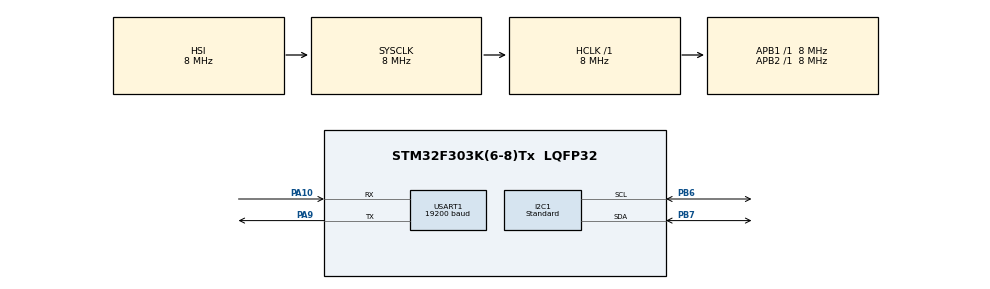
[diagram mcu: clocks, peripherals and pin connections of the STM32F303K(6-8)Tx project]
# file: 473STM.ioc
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I2C1.I2C_Speed_Mode=I2C_Standard
Mcu.Family=STM32F3
Mcu.Name=STM32F303K(6-8)Tx
Mcu.Package=LQFP32
NVIC.PriorityGroup=NVIC_PRIORITYGROUP_4
PA10.Mode=Asynchronous
PA10.Signal=USART1_RX
PA13.GPIO_Label=SWDIO
PA13.Mode=Serial_Wire
PA13.Signal=SYS_JTMS-SWDIO
PA14.GPIO_Label=SWCLK
PA14.Mode=Serial_Wire
PA14.Signal=SYS_JTCK-SWCLK
PA15.GPIO_Label=VCP_RX
PA15.Signal=USART2_RX
PA2.GPIO_Label=VCP_TX
PA2.Signal=USART2_TX
PA9.Mode=Asynchronous
PA9.Signal=USART1_TX
PB6.Mode=I2C
PB6.Signal=I2C1_SCL
PB7.Mode=I2C
PB7.Signal=I2C1_SDA
PF0\ /\ OSC_IN.GPIO_Label=MCO
PF0\ /\ OSC_IN.Mode=HSE-External-Clock-Source
PF0\ /\ OSC_IN.Signal=RCC_OSC_IN
ProjectManager.HeapSize=0x200
ProjectManager.StackSize=0x400
ProjectManager.TargetToolchain=STM32CubeIDE
RCC.AHBFreq_Value=8000000
RCC.APB1Freq_Value=8000000
RCC.APB2Freq_Value=8000000
RCC.CortexFreq_Value=8000000
RCC.HSE_VALUE=8000000
RCC.HSI_VALUE=8000000
RCC.SYSCLKFreq_VALUE=8000000
TIM3.AutoReloadPreload=TIM_AUTORELOAD_PRELOAD_ENABLE
TIM3.Period=8000
USART1.BaudRate=19200
USART1.StopBits=STOPBITS_2
USART1.VirtualMode-Asynchronous=VM_ASYNC
VP_TIM3_VS_ClockSourceINT.Mode=Internal
board=NUCLEO-F303K8

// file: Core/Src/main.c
/* USER CODE BEGIN Header */
/**
 ******************************************************************************
 * @file           : main.c
 * @brief          : Main program body
 ******************************************************************************
 * @attention
 *
 * Copyright (c) 2021 STMicroelectronics.
 * All rights reserved.
 *
 * This software is licensed under terms that can be found in the LICENSE file
 * in the root directory of this software component.
 * If no LICENSE file comes with this software, it is provided AS-IS.
 *
 ******************************************************************************
 */
/* USER CODE END Header */
#include "main.h"
#include "stm32f3xx_it.h"

/* USER CODE BEGIN PD */
#define BMP_ADDR 0x77 << 1
#define BNO_ADDR 0x28 << 1
#define portNVIC_INT_CTRL_REG		( * ( ( volatile uint32_t * ) 0xe000ed04 ) )
#define portNVIC_PENDSVSET_BIT		( 1UL << 28UL )
#define portNVIC_Thread				( 1UL << 11UL)

/* USER CODE END PD */

I2C_HandleTypeDef hi2c1;

TIM_HandleTypeDef htim3;

UART_HandleTypeDef huart1;

/* USER CODE BEGIN PV */
MemBuf bnoAccelBuf;
MemBuf bnoGyroBuf;
MemBuf bnoMagBuf;
MemBuf bmpBuf;

/* USER CODE END PV */

void SystemClock_Config(void);
static void MX_GPIO_Init(void);
static void MX_USART1_UART_Init(void);
static void MX_I2C1_Init(void);
static void MX_TIM3_Init(void);
/* USER CODE BEGIN PFP */
void schedule(void);
void contextSwap(void);
void addTask(void* task);
void initTasks(void);
void delayTask(int delay);

void taskOne(void);
void taskTwo(void);

void readBNO(void);
void readBMP(void);
void logBNO(void);
void logBMP(void);
/* USER CODE END PFP */

/* USER CODE BEGIN 0 */

char* intToChar(int16_t num) {
	static char asciiNum[6];
	int pos = 0;
	if(num < 0) {
		asciiNum[pos] = '-';
		num = -num;
		pos++;
	}
	uint16_t temp;
	bool nonzero = false;

	for(int i = 1000; i > 1; i /= 10) {
		temp = (num/i % 10);
		if(temp != 0) {
			asciiNum[pos++] = temp + '0';
			nonzero = true;
		}
	}
	asciiNum[pos++] = (num % 10) + '0';
	asciiNum[pos] = '\0';

	return asciiNum;
}

char* uintToChar(uint16_t num) {
	static char asciiNum[5];
	int pos = 0;
	uint16_t temp;
	bool nonzero = false;

	for(int i = 1000; i > 1; i /= 10) {
		temp = (num/i % 10);
		if(temp != 0) {
			asciiNum[pos++] = temp + '0';
			nonzero = true;
		}
	}
	asciiNum[pos++] = (num % 10) + '0';
	asciiNum[pos] = '\0';

	return asciiNum;
}

void readBNOReg(uint8_t reg, MemBuf* buffer) {
	int16_t number;
	uint8_t result;
	HAL_I2C_Mem_Read(&hi2c1,BNO_ADDR,reg,1,&result,1,100);
	number = (result << 8);
	HAL_I2C_Mem_Read(&hi2c1,BNO_ADDR,reg-1,1,&result,1,100);
	number += result;
	char* msg2 = intToChar(number);
	for(int i = 0; i < 4; i++) {
		if(msg2[i] == '\0')
			break;
		buffer->msg[buffer->bufLen++] = msg2[i];
	}
	buffer->msg[buffer->bufLen++] = '\r';
	buffer->msg[buffer->bufLen++] = '\n';
}

void readBMP(void) {
	while(1) {
		if(bmpBuf.sent == false) {
			__disable_irq();

			bmpBuf.bufLen = 0;

			uint8_t result;
			uint16_t num;
			HAL_I2C_Mem_Read(&hi2c1,BMP_ADDR,0xFA,1,&result,1,100);
			num = result << 8;
			HAL_I2C_Mem_Read(&hi2c1,BMP_ADDR,0xFB,1,&result,1,100);
			num += result;

			char msg[6] = "Temp: ";
			char * tmp = uintToChar(num);
			for(int i = 0; i < 6; i++) {
				bmpBuf.msg[bmpBuf.bufLen++] = msg[i];
			}
			for(int i = 0; i < 4; i++) {
				if(tmp[i] == '\0') {
					break;
				}
				bmpBuf.msg[bmpBuf.bufLen++] = tmp[i];
			}
			bmpBuf.msg[bmpBuf.bufLen++] = '\r';
			bmpBuf.msg[bmpBuf.bufLen++] = '\n';

			HAL_I2C_Mem_Read(&hi2c1,BMP_ADDR,0xF7,1,&result,1,100);
			num = result << 8;
			HAL_I2C_Mem_Read(&hi2c1,BMP_ADDR,0xF8,1,&result,1,100);
			num += result;

			char msg2[10] = "Pressure: ";
			tmp = uintToChar(num);
			for(int i = 0; i < 10; i++) {
				bmpBuf.msg[bmpBuf.bufLen++] = msg2[i];
			}
			for(int i = 0; i < 4; i++) {
				if(tmp[i] == '\0') {
					break;
				}
				bmpBuf.msg[bmpBuf.bufLen++] = tmp[i];
			}
			bmpBuf.msg[bmpBuf.bufLen++] = '\r';
			bmpBuf.msg[bmpBuf.bufLen++] = '\n';

			bmpBuf.sent = true;
			__enable_irq();
		}
		portNVIC_INT_CTRL_REG = portNVIC_PENDSVSET_BIT;
	}

}

void readBNOAccel(void) {
	while(1) {
		if(bnoAccelBuf.sent == false) {
			//Accel read
			//X
			bnoAccelBuf.bufLen = 0;

			__disable_irq();

			char msg2[13] = "Accel  axis: ";
			for(int i = 0; i < 6; i++) {
				bnoAccelBuf.msg[bnoAccelBuf.bufLen++] = msg2[i];
			}
			bnoAccelBuf.msg[bnoAccelBuf.bufLen++] = 'X';
			for(int i = 6; i < 13; i++) {
				bnoAccelBuf.msg[bnoAccelBuf.bufLen++] = msg2[i];
			}
			readBNOReg(0x09,&bnoAccelBuf);

			//Y
			for(int i = 0; i < 6; i++) {
				bnoAccelBuf.msg[bnoAccelBuf.bufLen++] = msg2[i];
			}
			bnoAccelBuf.msg[bnoAccelBuf.bufLen++] = 'Y';
			for(int i = 6; i < 13; i++) {
				bnoAccelBuf.msg[bnoAccelBuf.bufLen++] = msg2[i];
			}
			readBNOReg(0x0B,&bnoAccelBuf);

			//Z

			for(int i = 0; i < 6; i++) {
				bnoAccelBuf.msg[bnoAccelBuf.bufLen++] = msg2[i];
			}
			bnoAccelBuf.msg[bnoAccelBuf.bufLen++] = 'Z';
			for(int i = 6; i < 13; i++) {
				bnoAccelBuf.msg[bnoAccelBuf.bufLen++] = msg2[i];
			}
			readBNOReg(0x09,&bnoAccelBuf);

			bnoAccelBuf.sent = true;
			__enable_irq();
		}
		portNVIC_INT_CTRL_REG = portNVIC_PENDSVSET_BIT;
	}
}

void readBNOMag(void) {
	while(1) {
		if(bnoMagBuf.sent == false) {
			bnoMagBuf.bufLen = 0;

			__disable_irq();
			char msg1[11] = "Mag  axis: ";
			for(int i = 0; i < 4; i++) {
				bnoMagBuf.msg[bnoMagBuf.bufLen++] = msg1[i];
			}
			bnoMagBuf.msg[bnoMagBuf.bufLen++] = 'X';
			for(int i = 4; i < 11; i++) {
				bnoMagBuf.msg[bnoMagBuf.bufLen++] = msg1[i];
			}
			readBNOReg(0xFF,&bnoMagBuf);

			for(int i = 0; i < 4; i++) {
				bnoMagBuf.msg[bnoMagBuf.bufLen++] = msg1[i];
			}
			bnoMagBuf.msg[bnoMagBuf.bufLen++] = 'Y';
			for(int i = 4; i < 11; i++) {
				bnoMagBuf.msg[bnoMagBuf.bufLen++] = msg1[i];
			}
			readBNOReg(0x11,&bnoMagBuf);

			for(int i = 0; i < 4; i++) {
				bnoMagBuf.msg[bnoMagBuf.bufLen++] = msg1[i];
			}
			bnoMagBuf.msg[bnoMagBuf.bufLen++] = 'Z';
			for(int i = 4; i < 11; i++) {
				bnoMagBuf.msg[bnoMagBuf.bufLen++] = msg1[i];
			}
			readBNOReg(0x13,&bnoMagBuf);
			bnoMagBuf.sent = true;
			__enable_irq();
		}
		portNVIC_INT_CTRL_REG = portNVIC_PENDSVSET_BIT;
	}

}

void readBNOGyro(void) {
	//BNO IMU MSB to LSB
	//Set UNIT_SEL register to desired values

	while(1) {
		if(bnoGyroBuf.sent == false) {
			bnoGyroBuf.bufLen = 0;
			//Gyro read
			//X

			__disable_irq();

			char msg1[12] = "Gyro  axis: ";
			for(int i = 0; i < 5; i++) {
				bnoGyroBuf.msg[bnoGyroBuf.bufLen++] = msg1[i];
			}
			bnoGyroBuf.msg[bnoGyroBuf.bufLen++] = 'X';
			for(int i = 5; i < 12; i++) {
				bnoGyroBuf.msg[bnoGyroBuf.bufLen++] = msg1[i];
			}
			readBNOReg(0x15,&bnoGyroBuf);

			//Y

			for(int i = 0; i < 5; i++) {
				bnoGyroBuf.msg[bnoGyroBuf.bufLen++] = msg1[i];
			}
			bnoGyroBuf.msg[bnoGyroBuf.bufLen++] = 'Y';
			for(int i = 5; i < 12; i++) {
				bnoGyroBuf.msg[bnoGyroBuf.bufLen++] = msg1[i];
			}
			readBNOReg(0x17,&bnoGyroBuf);

			//Z
			for(int i = 0; i < 5; i++) {
				bnoGyroBuf.msg[bnoGyroBuf.bufLen++] = msg1[i];
			}
			bnoGyroBuf.msg[bnoGyroBuf.bufLen++] = 'Z';
			for(int i = 5; i < 12; i++) {
				bnoGyroBuf.msg[bnoGyroBuf.bufLen++] = msg1[i];
			}
			readBNOReg(0x19,&bnoGyroBuf);
			__enable_irq();

			bnoGyroBuf.sent = true;
		}
		portNVIC_INT_CTRL_REG = portNVIC_PENDSVSET_BIT;
	}
}

void bmpPrint(void) {

	//uint8_t msg[9] = "Task one\n";
	while(1) {
		if(bmpBuf.sent == true) {
			__disable_irq();
			HAL_UART_Transmit(&huart1,bmpBuf.msg,bmpBuf.bufLen,100);
			bmpBuf.bufLen = 0;
			bmpBuf.sent = false;
			__enable_irq();
			delayTask(500);
		}
		portNVIC_INT_CTRL_REG = portNVIC_PENDSVSET_BIT;

	}

}

void bnoMagPrint(void) {

	//uint8_t msg[9] = "Task one\n";
	while(1) {
		if(bnoMagBuf.sent == true) {
			__disable_irq();
			HAL_UART_Transmit(&huart1,bnoMagBuf.msg,bnoMagBuf.bufLen,100);
			bnoMagBuf.bufLen = 0;
			bnoMagBuf.sent = false;
			__enable_irq();
			delayTask(500);
		}
		portNVIC_INT_CTRL_REG = portNVIC_PENDSVSET_BIT;

	}

}

void bnoAccelPrint(void) {

	//uint8_t msg[9] = "Task one\n";
	while(1) {
		if(bnoAccelBuf.sent == true) {
			__disable_irq();
			HAL_UART_Transmit(&huart1,bnoAccelBuf.msg,bnoAccelBuf.bufLen,100);
			bnoAccelBuf.bufLen = 0;
			bnoAccelBuf.sent = false;
			__enable_irq();
			delayTask(500);
		}
		portNVIC_INT_CTRL_REG = portNVIC_PENDSVSET_BIT;

	}

}

void bnoGyroPrint(void) {
	while(1) {
		if(bnoGyroBuf.sent == true) {
			__disable_irq();
			HAL_UART_Transmit(&huart1,bnoGyroBuf.msg,bnoGyroBuf.bufLen,100);
			bnoGyroBuf.bufLen = 0;
			bnoGyroBuf.sent = false;
			__enable_irq();
			delayTask(500);
		}
		portNVIC_INT_CTRL_REG = portNVIC_PENDSVSET_BIT;

	}
}

void delayTask(int delay) {
	__asm volatile (
			"mrs r0, psp \n"
	);
	currentProcess->delay = delay;
	currentProcess->currentState = BLOCKED;
	portNVIC_INT_CTRL_REG = portNVIC_PENDSVSET_BIT;
	while(currentProcess->currentState == BLOCKED) {

	}
	__asm volatile (
			"adds r0, #12 \n"
			"msr psp, r0 \n"
			"bx lr \n"
	);

}

void initTasks(void) {
	for(int i = 0; i < NUM_PROC; i++) {
		processes[i].stackTop = &processes[i].stack[STACK_SIZE - 17];
		processes[i].currentState = TERMINATED;
	}
	currentProcess = &processes[NUM_PROC-1];
	__asm volatile (
			"ldr r3, initialContext \n"
			"ldr r0, [r3] \n"
			"ldr r1, [r0] \n"
			"msr psp, r1 \n"
			"initialContext: .word currentProcess \n"
	);
}
void addTask(void* task) {
	for(int i = 0; i < NUM_PROC; i++) {
		if(processes[i].currentState == TERMINATED) {
			*(uint32_t*)(&processes[i].stack[STACK_SIZE - 2]) = (uint32_t)task;
			*(uint32_t*)(&processes[i].stack[STACK_SIZE - 1]) = (uint32_t)0x21000000;
			processes[i].currentState = ACTIVE;
			return;
		}
	}
}

void schedule(void) {
	static int i = 0;
	for(;;) {
		i = (i + 1) % NUM_PROC;
		if(processes[i].currentState == ACTIVE) {
			currentProcess = &processes[i];
			return;
		}
	}
	//uint8_t msg[11] = "Scheduling";
	//HAL_UART_Transmit(&huart1,msg,11,100);
}

void PendSV_Handler(void) {
	//__disable_irq();

	__asm volatile
	(
			"mrs r0, msp \n"
			"ldr r1, =#0x00000008 \n"
			"add r0, r1 \n"
			"msr msp, r0 \n"
			"mrs r0, psp \n"
			"ldr r3, currentContext \n"
			"ldr r2, [r3] \n"
			"stmdb r0!, {r4-r11, r14} \n"
			"str r0, [r2] \n"
	);
	schedule();
	//__enable_irq();

	__asm volatile
	(
			"ldr r3, currentContext \n"
			"ldr r1, [r3] \n"
			"ldr r0, [r1] \n"
			"ldmia r0!, {r4-r11, r14} \n"
			"msr psp, r0 \n"
			"isb \n"
			"ldr r14, =#0xFFFFFFFD \n"
			"bx lr \n"
			"currentContext: .word currentProcess \n"
	);
	//return;
	//portNVIC_INT_CTRL_REG = portNVIC_Thread;
	__asm volatile
	(
			"bx r14 \n"
	);

}

/* USER CODE END 0 */

int main(void)
{

	/* MCU Configuration--------------------------------------------------------*/

	/* Reset of all peripherals, Initializes the Flash interface and the Systick. */
	HAL_Init();

	/* Configure the system clock */
	SystemClock_Config();

	/* Initialize all configured peripherals */
	MX_GPIO_Init();
	MX_USART1_UART_Init();
	MX_I2C1_Init();
	MX_TIM3_Init();
	/* USER CODE BEGIN 2 */
	__disable_irq();
	initTasks();
	bnoAccelBuf.sent = false;
	bnoGyroBuf.sent = false;
	bmpBuf.sent = false;
	bnoMagBuf.sent = false;
	uint8_t msg = 0x10;
	HAL_I2C_Mem_Write(&hi2c1,BNO_ADDR,0x3B,1,&msg,1,100);
	msg = 0x08;
	HAL_I2C_Mem_Write(&hi2c1,BNO_ADDR,0x3D,1,&msg,1,100);
	msg = 0x27;
	HAL_I2C_Mem_Write(&hi2c1,BMP_ADDR,0xF4,1,&msg,1,100);
	addTask(&bnoGyroPrint);
	addTask(&bnoAccelPrint);
	addTask(&bnoMagPrint);
	addTask(&bmpPrint);
	addTask(&readBNOGyro);
	addTask(&readBNOAccel);
	addTask(&readBNOMag);
	addTask(&readBMP);
	__enable_irq();
	HAL_InitTick(0);

	/* USER CODE END 2 */

	/* Infinite loop */
	/* USER CODE BEGIN WHILE */
	while (1)
	{
		/*
	result = 0;
	HAL_UART_Transmit(&huart1,msg,12,100);
	HAL_Delay(1000);

	// BMP Temp and Pressure Sensor
	// Temp read MSB to XLSB
	HAL_I2C_Mem_Read(&hi2c1,BMP_ADDR,0xFA,1,&result,1,100);
	HAL_I2C_Mem_Read(&hi2c1,BMP_ADDR,0xFB,1,&result,1,100);
	HAL_I2C_Mem_Read(&hi2c1,BMP_ADDR,0xFC,1,&result,1,100);
    /* USER CODE END WHILE */

	}
}

void SystemClock_Config(void)
{
	RCC_OscInitTypeDef RCC_OscInitStruct = {0};
	RCC_ClkInitTypeDef RCC_ClkInitStruct = {0};
	RCC_PeriphCLKInitTypeDef PeriphClkInit = {0};

	/** Initializes the RCC Oscillators according to the specified parameters
	 * in the RCC_OscInitTypeDef structure.
	 */
	RCC_OscInitStruct.OscillatorType = RCC_OSCILLATORTYPE_HSI;
	RCC_OscInitStruct.HSIState = RCC_HSI_ON;
	RCC_OscInitStruct.HSICalibrationValue = RCC_HSICALIBRATION_DEFAULT;
	RCC_OscInitStruct.PLL.PLLState = RCC_PLL_NONE;
	if (HAL_RCC_OscConfig(&RCC_OscInitStruct) != HAL_OK)
	{
		Error_Handler();
	}
	/** Initializes the CPU, AHB and APB buses clocks
	 */
	RCC_ClkInitStruct.ClockType = RCC_CLOCKTYPE_HCLK|RCC_CLOCKTYPE_SYSCLK
			|RCC_CLOCKTYPE_PCLK1|RCC_CLOCKTYPE_PCLK2;
	RCC_ClkInitStruct.SYSCLKSource = RCC_SYSCLKSOURCE_HSI;
	RCC_ClkInitStruct.AHBCLKDivider = RCC_SYSCLK_DIV1;
	RCC_ClkInitStruct.APB1CLKDivider = RCC_HCLK_DIV1;
	RCC_ClkInitStruct.APB2CLKDivider = RCC_HCLK_DIV1;

	if (HAL_RCC_ClockConfig(&RCC_ClkInitStruct, FLASH_LATENCY_0) != HAL_OK)
	{
		Error_Handler();
	}
	PeriphClkInit.PeriphClockSelection = RCC_PERIPHCLK_USART1|RCC_PERIPHCLK_I2C1;
	PeriphClkInit.Usart1ClockSelection = RCC_USART1CLKSOURCE_PCLK1;
	PeriphClkInit.I2c1ClockSelection = RCC_I2C1CLKSOURCE_HSI;
	if (HAL_RCCEx_PeriphCLKConfig(&PeriphClkInit) != HAL_OK)
	{
		Error_Handler();
	}
}

static void MX_I2C1_Init(void)
{

	hi2c1.Instance = I2C1;
	hi2c1.Init.Timing = 0x2000090E;
	hi2c1.Init.OwnAddress1 = 0;
	hi2c1.Init.AddressingMode = I2C_ADDRESSINGMODE_7BIT;
	hi2c1.Init.DualAddressMode = I2C_DUALADDRESS_DISABLE;
	hi2c1.Init.OwnAddress2 = 0;
	hi2c1.Init.OwnAddress2Masks = I2C_OA2_NOMASK;
	hi2c1.Init.GeneralCallMode = I2C_GENERALCALL_DISABLE;
	hi2c1.Init.NoStretchMode = I2C_NOSTRETCH_DISABLE;
	if (HAL_I2C_Init(&hi2c1) != HAL_OK)
	{
		Error_Handler();
	}
	/** Configure Analogue filter
	 */
	if (HAL_I2CEx_ConfigAnalogFilter(&hi2c1, I2C_ANALOGFILTER_ENABLE) != HAL_OK)
	{
		Error_Handler();
	}
	/** Configure Digital filter
	 */
	if (HAL_I2CEx_ConfigDigitalFilter(&hi2c1, 0) != HAL_OK)
	{
		Error_Handler();
	}

}

static void MX_TIM3_Init(void)
{

	TIM_ClockConfigTypeDef sClockSourceConfig = {0};
	TIM_MasterConfigTypeDef sMasterConfig = {0};

	htim3.Instance = TIM3;
	htim3.Init.Prescaler = 0;
	htim3.Init.CounterMode = TIM_COUNTERMODE_UP;
	htim3.Init.Period = 8000;
	htim3.Init.ClockDivision = TIM_CLOCKDIVISION_DIV1;
	htim3.Init.AutoReloadPreload = TIM_AUTORELOAD_PRELOAD_ENABLE;
	if (HAL_TIM_Base_Init(&htim3) != HAL_OK)
	{
		Error_Handler();
	}
	sClockSourceConfig.ClockSource = TIM_CLOCKSOURCE_INTERNAL;
	if (HAL_TIM_ConfigClockSource(&htim3, &sClockSourceConfig) != HAL_OK)
	{
		Error_Handler();
	}
	sMasterConfig.MasterOutputTrigger = TIM_TRGO_RESET;
	sMasterConfig.MasterSlaveMode = TIM_MASTERSLAVEMODE_DISABLE;
	if (HAL_TIMEx_MasterConfigSynchronization(&htim3, &sMasterConfig) != HAL_OK)
	{
		Error_Handler();
	}

}

static void MX_USART1_UART_Init(void)
{

	huart1.Instance = USART1;
	huart1.Init.BaudRate = 19200;
	huart1.Init.WordLength = UART_WORDLENGTH_8B;
	huart1.Init.StopBits = UART_STOPBITS_2;
	huart1.Init.Parity = UART_PARITY_NONE;
	huart1.Init.Mode = UART_MODE_TX_RX;
	huart1.Init.HwFlowCtl = UART_HWCONTROL_NONE;
	huart1.Init.OverSampling = UART_OVERSAMPLING_16;
	huart1.Init.OneBitSampling = UART_ONE_BIT_SAMPLE_DISABLE;
	huart1.AdvancedInit.AdvFeatureInit = UART_ADVFEATURE_NO_INIT;
	if (HAL_UART_Init(&huart1) != HAL_OK)
	{
		Error_Handler();
	}

}

static void MX_GPIO_Init(void)
{
	GPIO_InitTypeDef GPIO_InitStruct = {0};

	/* GPIO Ports Clock Enable */
	__HAL_RCC_GPIOF_CLK_ENABLE();
	__HAL_RCC_GPIOA_CLK_ENABLE();
	__HAL_RCC_GPIOB_CLK_ENABLE();

	/*Configure GPIO pins : VCP_TX_Pin VCP_RX_Pin */
	GPIO_InitStruct.Pin = VCP_TX_Pin|VCP_RX_Pin;
	GPIO_InitStruct.Mode = GPIO_MODE_AF_PP;
	GPIO_InitStruct.Pull = GPIO_NOPULL;
	GPIO_InitStruct.Speed = GPIO_SPEED_FREQ_HIGH;
	GPIO_InitStruct.Alternate = GPIO_AF7_USART2;
	HAL_GPIO_Init(GPIOA, &GPIO_InitStruct);

}

/* USER CODE BEGIN 4 */
// Callback: timer has rolled over
void HAL_TIM_PeriodElapsedCallback(TIM_HandleTypeDef *htim)
{
	// Check which version of the timer triggered this callback and toggle LED
	if (htim == &htim3)
	{
		for(int j = 0; j < NUM_PROC; j++) {
			if(processes[j].currentState == BLOCKED) {
				processes[j].delay--;
				if(processes[j].delay == 0) {
					processes[j].currentState = ACTIVE;
				}
			}
		}
		//HAL_TIM_Base_Start_IT(&htim3);

		//HAL_TIM_Base_Stop_IT(&htim3);
		//TIM_Cmd(ENABLE);
		//__HAL_TIM_CLEAR_IT(&htim3,TIM_IT_UPDATE);
		//__HAL_TIM_SET_COUNTER(&htim3, 0);
		//HAL_TIM_Base_Start_IT(&htim3);
		//while(1) {}
		//contextSwap();
	}
}
/* USER CODE END 4 */

void Error_Handler(void)
{
	__disable_irq();
	while (1)
	{
	}
}
